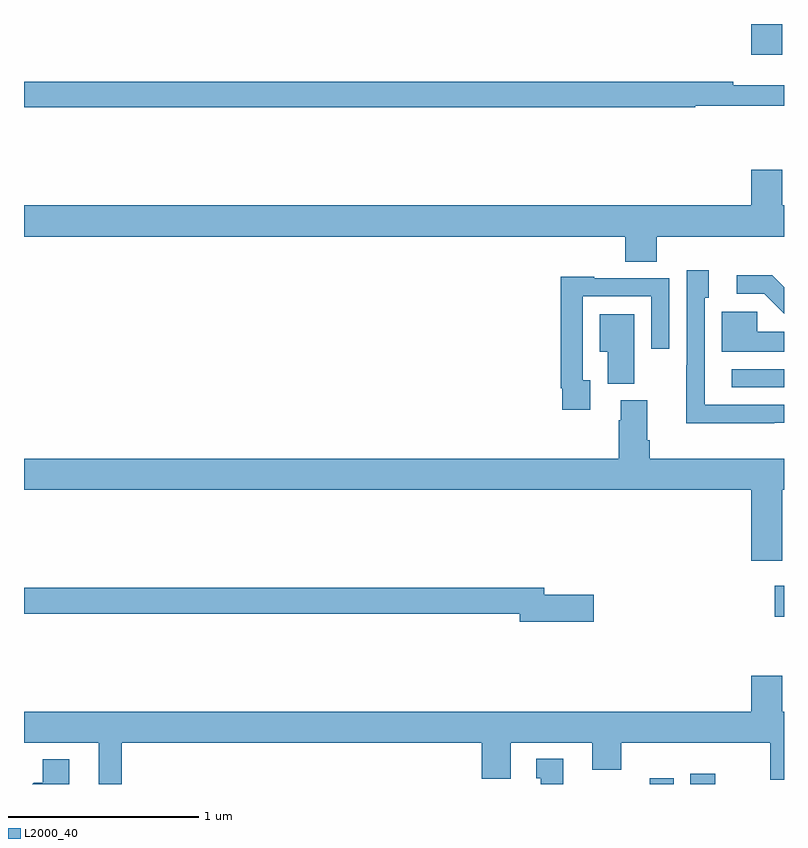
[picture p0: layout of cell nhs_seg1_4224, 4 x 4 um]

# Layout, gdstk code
import gdstk
lib = gdstk.Library(unit=1e-6, precision=1e-09)
def R(c, l, rs):  # rectangles x0, y0, x1, y1
    for r in rs: c.add(gdstk.rectangle(r[:2], r[2:], *l))
def P(c, l, *ps):  # polygons
    for p in ps: c.add(gdstk.Polygon(p, *l))
L2000_40 = (2000, 40)

nhs_seg1_4224 = lib.new_cell('nhs_seg1_4224')
R(nhs_seg1_4224, L2000_40, [(344.294,534.199,344.419,534.229), (344.507,534.199,344.638,534.253), (344.952,535.078,345,535.243), (344.724,536.286,345,536.382), (344.828,538.038,344.992,538.199)])
P(nhs_seg1_4224, L2000_40, [(344.534,537.768),(345,537.768),(345,537.877),(344.732,537.877),(344.732,537.896),(341,537.896),(341,537.76),(344.534,537.76)],
  [(341,537.08),(344.165,537.08),(344.165,536.947),(344.33,536.947),(344.33,537.08),(345,537.08),(345,537.244),(344.992,537.244),(344.992,537.433),(344.828,537.433),(344.828,537.244),(341,537.244)],
  [(344.948,536.1),(345,536.1),(345,536.196),(344.583,536.196),(344.583,536.757),(344.605,536.757),(344.605,536.902),(344.487,536.902),(344.487,536.402),(344.486,536.402),(344.486,536.099),(344.948,536.099)],
  [(345,536.814),(344.938,536.876),(344.751,536.876),(344.751,536.778),(344.895,536.778),(345,536.673)],
  [(343.981,536.325),(343.941,536.325),(343.941,536.766),(344.301,536.766),(344.301,536.49),(344.397,536.49),(344.397,536.862),(344.001,536.862),(344.001,536.869),(343.825,536.869),(343.825,536.281),(343.833,536.281),(343.833,536.169),(343.981,536.169)],
  [(345,536.578),(344.859,536.578),(344.859,536.685),(344.672,536.685),(344.672,536.474),(345,536.474)],
  [(344.212,536.671),(344.03,536.671),(344.03,536.474),(344.072,536.474),(344.072,536.305),(344.212,536.305)],
  [(344.992,535.748),(345,535.748),(345,535.912),(344.294,535.912),(344.294,536.008),(344.281,536.008),(344.281,536.22),(344.141,536.22),(344.141,536.114),(344.129,536.114),(344.129,535.912),(341,535.912),(341,535.748),(344.828,535.748),(344.828,535.374),(344.992,535.374)],
  [(343.999,535.196),(343.738,535.196),(343.738,535.232),(341,535.232),(341,535.096),(343.61,535.096),(343.61,535.054),(343.999,535.054)],
  [(341.515,534.416),(343.409,534.416),(343.409,534.227),(343.561,534.227),(343.561,534.416),(343.991,534.416),(343.991,534.275),(344.144,534.275),(344.144,534.416),(344.927,534.416),(344.927,534.222),(345,534.222),(345,534.58),(344.992,534.58),(344.992,534.769),(344.828,534.769),(344.828,534.58),(341,534.58),(341,534.416),(341.393,534.416),(341.393,534.199),(341.515,534.199)],
  [(343.837,534.331),(343.697,534.331),(343.697,534.228),(343.721,534.228),(343.721,534.199),(343.837,534.199)],
  [(341.239,534.328),(341.099,534.328),(341.099,534.205),(341.05,534.205),(341.044,534.199),(341.239,534.199)])

lib.write_gds('nhs_seg1_4224.gds')
